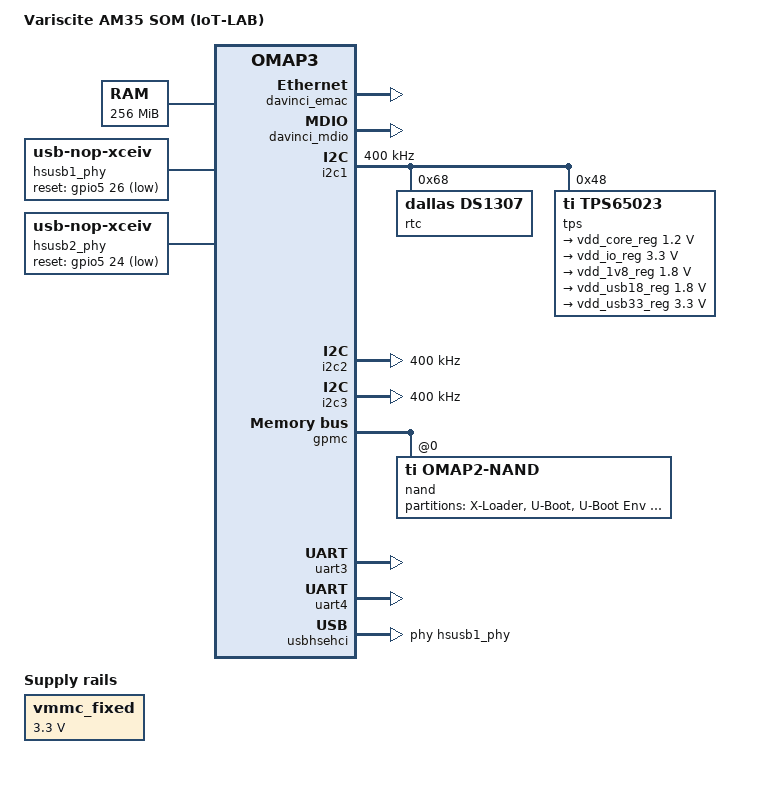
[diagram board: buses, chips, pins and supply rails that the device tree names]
// SPDX-License-Identifier: GPL-2.0-only
/*
 * Copyright (C) 2021 Gaëtan Harter <hartergaetan@gmail.com>
 *
 * Based on:
 *  -  am3517-evm.dts
 *  -  am3517-som.dtsi
 */
/dts-v1/;

#include "am3517.dtsi"
//#include "am3517-som.dtsi"
#include <dt-bindings/input/input.h>

/ {
	model = "Variscite AM35 SOM (IoT-LAB)";
	compatible = "var,am35", "ti,am3517", "ti,omap3";

#if 1
	chosen {
		stdout-path = &uart3;
	};
#endif

	memory@80000000 {
		device_type = "memory";
		reg = <0x80000000 0x10000000>; /* 256 MB */
	};

	cpu@0 {
		cpu0-supply = <&vdd_core_reg>;
	};

	vmmc_fixed: vmmc {
		compatible = "regulator-fixed";
		regulator-name = "vmmc_fixed";
		regulator-min-microvolt = <3300000>;
		regulator-max-microvolt = <3300000>;
	};

	/* HS USB Host PHY on PORT 1 */
	/* Adapted from 'omap3-beagle.dts'
	 *
	 * gpio_NUM = <&gpio(NUM / 32 +1) (NUM % 32) GPIO_ACTIVE_LOW>
	 */
	hsusb1_phy: hsusb1_phy {
		compatible = "usb-nop-xceiv";
		//pinctrl-names = "default";
		//pinctrl-0 = <&hsusb1_rst_pins>;
		reset-gpios = <&gpio5 26 GPIO_ACTIVE_LOW>;	/* gpio_154 */
		#phy-cells = <0>;
	};
	hsusb2_phy: hsusb2_phy {
		compatible = "usb-nop-xceiv";
		//pinctrl-names = "default";
		//pinctrl-0 = <&hsusb2_rst_pins>;
		reset-gpios = <&gpio5 24 GPIO_ACTIVE_LOW>;	/* gpio_152 */
		#phy-cells = <0>;
	};
};


/*
 * The current mapping match what was found in other boards and also u-boot.
 *
 * Double checked with the output of the following on an old kernel
 *
 *     grep '' /sys/kernel/debug/omap_mux/*
 *
 * I cannot get the same output for the moment on the device tree one
 *
 *
 *
 * Most of the values for usb where not needed in the current kernel it
 * seems they were just set by arch/arm/mach-omap2/usb-host.c
 *
 * Which is not used anymore later I think (not sure)
 */


&omap3_pmx_core {
	/* https://www.ti.com/lit/ug/sprugr0c/sprugr0c.pdf
	 * Table 6-5. Core and Wakeup Control Module Pad Configuration Registers(continued)
	 * Page 625
	 */
	pinctrl-names = "default";
	pinctrl-0 = <
			&hsusb1_rst_pins
			&hsusb2_rst_pins
			&hsusb2_pins
#if 0
			&mmc1_pins
#endif
	>;

	hsusb1_rst_pins: pinmux_hsusb1_rst_pins {
		pinctrl-single,pins = <
			OMAP3_CORE1_IOPAD(0x2188, PIN_OUTPUT | MUX_MODE4)	/* mcbsp4_clkx.gpio_154 */
		>;
	};
	hsusb2_rst_pins: pinmux_hsusb2_rst_pins {
		pinctrl-single,pins = <
			OMAP3_CORE1_IOPAD(0x2184, PIN_OUTPUT | MUX_MODE4)	/* mcbsp4_dx.gpio_152 */
		>;
	};

	hsusb2_pins: pinmux_hsusb2_pins {
		pinctrl-single,pins = <
			OMAP3_CORE1_IOPAD(0x21d4, PIN_INPUT_PULLDOWN | MUX_MODE3)	/* mcspi1_cs3.hsusb2_data2 */
			OMAP3_CORE1_IOPAD(0x21d6, PIN_INPUT_PULLDOWN | MUX_MODE3)	/* mcspi2_clk.hsusb2_data7 */
			OMAP3_CORE1_IOPAD(0x21d8, PIN_INPUT_PULLDOWN | MUX_MODE3)	/* mcspi2_simo.hsusb2_data4 */
			OMAP3_CORE1_IOPAD(0x21da, PIN_INPUT_PULLDOWN | MUX_MODE3)	/* mcspi2_somi.hsusb2_data5 */
			OMAP3_CORE1_IOPAD(0x21dc, PIN_INPUT_PULLDOWN | MUX_MODE3)	/* mcspi2_cs0.hsusb2_data6 */
			OMAP3_CORE1_IOPAD(0x21de, PIN_INPUT_PULLDOWN | MUX_MODE3)	/* mcspi2_cs1.hsusb2_data3 */
		>;
	};

#if 0
	mmc1_pins: pinmux_mmc1_pins {
		pinctrl-single,pins = <
			OMAP3_CORE1_IOPAD(0x2144, PIN_INPUT_PULLUP | MUX_MODE0)	/* sdmmc1_clk.sdmmc1_clk */
			OMAP3_CORE1_IOPAD(0x2146, PIN_INPUT_PULLUP | MUX_MODE0)	/* sdmmc1_cmd.sdmmc1_cmd */
			OMAP3_CORE1_IOPAD(0x2148, PIN_INPUT_PULLUP | MUX_MODE0)	/* sdmmc1_dat0.sdmmc1_dat0 */
			OMAP3_CORE1_IOPAD(0x214a, PIN_INPUT_PULLUP | MUX_MODE0)	/* sdmmc1_dat1.sdmmc1_dat1 */
			OMAP3_CORE1_IOPAD(0x214c, PIN_INPUT_PULLUP | MUX_MODE0)	/* sdmmc1_dat2.sdmmc1_dat2 */
			OMAP3_CORE1_IOPAD(0x214e, PIN_INPUT_PULLUP | MUX_MODE0)	/* sdmmc1_dat3.sdmmc1_dat3 */
			OMAP3_CORE1_IOPAD(0x2150, PIN_INPUT_PULLUP | MUX_MODE4) /* sdmmc1_dat4.gpio_126 */
			OMAP3_CORE1_IOPAD(0x2152, PIN_INPUT_PULLUP | MUX_MODE4) /* sdmmc1_dat5.gpio_127 */
		>;
	};
#endif
};

&omap3_pmx_core2 {
	pinctrl-names = "default";
	pinctrl-0 = <
			&hsusb1_pins
			&hsusb2_2_pins
	>;

	hsusb1_pins: pinmux_hsusb1_pins {
		pinctrl-single,pins = <
			OMAP3430_CORE2_IOPAD(0x25d8, PIN_OUTPUT | MUX_MODE3)	/* etk_clk.hsusb1_stp */
			OMAP3430_CORE2_IOPAD(0x25da, PIN_OUTPUT | MUX_MODE3)	/* etk_ctl.hsusb1_clk */
			OMAP3430_CORE2_IOPAD(0x25dc, PIN_INPUT_PULLDOWN | MUX_MODE3)	/* etk_d0.hsusb1_data0 */
			OMAP3430_CORE2_IOPAD(0x25de, PIN_INPUT_PULLDOWN | MUX_MODE3)	/* etk_d1.hsusb1_data1 */
			OMAP3430_CORE2_IOPAD(0x25e0, PIN_INPUT_PULLDOWN | MUX_MODE3)	/* etk_d2.hsusb1_data2 */
			OMAP3430_CORE2_IOPAD(0x25e2, PIN_INPUT_PULLDOWN | MUX_MODE3)	/* etk_d3.hsusb1_data7 */
			OMAP3430_CORE2_IOPAD(0x25e4, PIN_INPUT_PULLDOWN | MUX_MODE3)	/* etk_d4.hsusb1_data4 */
			OMAP3430_CORE2_IOPAD(0x25e6, PIN_INPUT_PULLDOWN | MUX_MODE3)	/* etk_d5.hsusb1_data5 */
			OMAP3430_CORE2_IOPAD(0x25e8, PIN_INPUT_PULLDOWN | MUX_MODE3)	/* etk_d6.hsusb1_data6 */
			OMAP3430_CORE2_IOPAD(0x25ea, PIN_INPUT_PULLDOWN | MUX_MODE3)	/* etk_d7.hsusb1_data3 */
			OMAP3430_CORE2_IOPAD(0x25ec, PIN_INPUT_PULLDOWN | MUX_MODE3)	/* etk_d8.hsusb1_dir */
			OMAP3430_CORE2_IOPAD(0x25ee, PIN_INPUT_PULLDOWN | MUX_MODE3)	/* etk_d9.hsusb1_nxt */
		>;
	};
#if 0
	hsusb1_pins: pinmux_hsusb1_pins {
		pinctrl-single,pins = <
			OMAP3430_CORE2_IOPAD(0x25d8, PIN_OUTPUT | MUX_MODE3)	/* etk_clk.hsusb1_stp */
			OMAP3430_CORE2_IOPAD(0x25da, PIN_OUTPUT | MUX_MODE3)	/* etk_ctl.hsusb1_clk */
			OMAP3430_CORE2_IOPAD(0x25dc, PIN_INPUT | MUX_MODE3)	/* etk_d0.hsusb1_data0 */
			OMAP3430_CORE2_IOPAD(0x25de, PIN_INPUT | MUX_MODE3)	/* etk_d1.hsusb1_data1 */
			OMAP3430_CORE2_IOPAD(0x25e0, PIN_INPUT | MUX_MODE3)	/* etk_d2.hsusb1_data2 */
			OMAP3430_CORE2_IOPAD(0x25e2, PIN_INPUT | MUX_MODE3)	/* etk_d3.hsusb1_data7 */
			OMAP3430_CORE2_IOPAD(0x25e4, PIN_INPUT | MUX_MODE3)	/* etk_d4.hsusb1_data4 */
			OMAP3430_CORE2_IOPAD(0x25e6, PIN_INPUT | MUX_MODE3)	/* etk_d5.hsusb1_data5 */
			OMAP3430_CORE2_IOPAD(0x25e8, PIN_INPUT | MUX_MODE3)	/* etk_d6.hsusb1_data6 */
			OMAP3430_CORE2_IOPAD(0x25ea, PIN_INPUT | MUX_MODE3)	/* etk_d7.hsusb1_data3 */
			OMAP3430_CORE2_IOPAD(0x25ec, PIN_INPUT | MUX_MODE3)	/* etk_d8.hsusb1_dir */
			OMAP3430_CORE2_IOPAD(0x25ee, PIN_INPUT | MUX_MODE3)	/* etk_d9.hsusb1_nxt */
		>;
	};
#endif

	hsusb2_2_pins: pinmux_hsusb2_2_pins {
		pinctrl-single,pins = <
			OMAP3430_CORE2_IOPAD(0x25f0, PIN_OUTPUT | MUX_MODE3)		/* etk_d10.hsusb2_clk */
			OMAP3430_CORE2_IOPAD(0x25f2, PIN_OUTPUT | MUX_MODE3)		/* etk_d11.hsusb2_stp */
			OMAP3430_CORE2_IOPAD(0x25f4, PIN_INPUT_PULLDOWN | MUX_MODE3)	/* etk_d12.hsusb2_dir */
			OMAP3430_CORE2_IOPAD(0x25f6, PIN_INPUT_PULLDOWN | MUX_MODE3)	/* etk_d13.hsusb2_nxt */
			OMAP3430_CORE2_IOPAD(0x25f8, PIN_INPUT_PULLDOWN | MUX_MODE3)	/* etk_d14.hsusb2_data0 */
			OMAP3430_CORE2_IOPAD(0x25fa, PIN_INPUT_PULLDOWN | MUX_MODE3)	/* etk_d15.hsusb2_data1 */
		>;
	};
};

&davinci_emac {
	status = "okay";
	local-mac-address = [ f8 dc 7a 01 99 69 ];
};

&davinci_mdio {
	status = "okay";
};

&i2c1 {
	clock-frequency = <400000>;
	rtc@68 {
		compatible = "dallas,ds1307";
		reg = <0x68>;
        status = "okay";
	};

	/* From am3517-som.dtsi */
	tps: tps65023@48 {
		compatible = "ti,tps65023";
		reg = <0x48>;

		regulators {
			vdd_core_reg: VDCDC1 {
				regulator-name = "vdd_core";
				regulator-always-on;
				regulator-min-microvolt = <1200000>;
				regulator-max-microvolt = <1200000>;
			};

			vdd_io_reg: VDCDC2 {
				regulator-name = "vdd_io";
				regulator-always-on;
				regulator-min-microvolt = <3300000>;
				regulator-max-microvolt = <3300000>;
			};

			vdd_1v8_reg: VDCDC3 {
				regulator-name = "vdd_1v8";
				regulator-always-on;
				regulator-min-microvolt = <1800000>;
				regulator-max-microvolt = <1800000>;
			};

			vdd_usb18_reg: LDO1 {
				regulator-name = "vdd_usb18";
				regulator-always-on;
				regulator-min-microvolt = <1800000>;
				regulator-max-microvolt = <1800000>;
			};

			vdd_usb33_reg: LDO2 {
				regulator-name = "vdd_usb33";
				regulator-always-on;
				regulator-min-microvolt = <3300000>;
				regulator-max-microvolt = <3300000>;
			};
		};
	};
};

&i2c2 {
	clock-frequency = <400000>;
};

&i2c3 {
	clock-frequency = <400000>;
};


&gpmc {
	/* Copied from am3517-som.dtsi in kernel 5.4
	 * Linux,mtd-name adapted from what original boot was saying
	 *
	 * Currently always read write…
	 * No idea how to change it.
	 * Could be just completely removed disabled in production
	 */
	ranges = <0 0 0x30000000 0x1000000>;	/* CS0: 16MB for NAND */

	nand: nand@0,0 {
		/*
		 * nand: device found, Manufacturer ID: 0x2c, Chip ID: 0xca
		 * nand: Micron MT29F2G16ABAEAWP
		 * nand: 256 MiB, SLC, erase size: 128 KiB, page size: 2048, OOB size: 64
		 * nand: using OMAP_ECC_BCH8_CODE_HW_DETECTION_SW
		 */
		compatible = "ti,omap2-nand";
		linux,mtd-name = "micron,mt29f2g16abaeawp";
		reg = <0 0 4>; /* CS0, offset 0, IO size 4 */
		nand-bus-width = <16>;
		ti,nand-ecc-opt = "bch8";
		gpmc,sync-clk-ps = <0>;
		gpmc,cs-on-ns = <0>;
		gpmc,cs-rd-off-ns = <44>;
		gpmc,cs-wr-off-ns = <44>;
		gpmc,adv-on-ns = <6>;
		gpmc,adv-rd-off-ns = <34>;
		gpmc,adv-wr-off-ns = <44>;
		gpmc,we-off-ns = <40>;
		gpmc,oe-off-ns = <54>;
		gpmc,access-ns = <64>;
		gpmc,rd-cycle-ns = <82>;
		gpmc,wr-cycle-ns = <82>;
		gpmc,wr-access-ns = <40>;
		gpmc,wr-data-mux-bus-ns = <0>;
		gpmc,device-width = <2>;
		#address-cells = <1>;
		#size-cells = <1>;

		status = "disabled";

		/*
		 * Creating 5 MTD partitions on "omap2-nand.0":
		 * 0x000000000000-0x000000080000 : "X-Loader"
		 * 0x000000080000-0x000000240000 : "U-Boot"
		 * 0x000000240000-0x000000280000 : "U-Boot Env"
		 * 0x000000280000-0x000000780000 : "Kernel"
		 * 0x000000780000-0x000010000000 : "File System"
		 */
		partition@0 {
			label = "X-Loader";
			reg = <0 0x80000>;
		};
		partition@0x80000 {
			label = "U-Boot";
			reg = <0x80000 0x1c0000>;
		};
		partition@0x1c0000 {
			label = "U-Boot Env";
			reg = <0x240000 0x40000>;
		};
		partition@0x280000 {
			label = "Kernel";
			reg = <0x280000 0x500000>;
		};
		partition@0x780000 {
			label = "Filesystem";
			reg = <0x780000 0xf880000>;
		};
	};
};

&nand {
	/* Not for use on open-a8 */
	status = "okay";
};

&uart3 {
	status = "okay";
};

&uart4 {
	status = "okay";
};


&usbhshost {
	port1-mode = "ehci-phy";
	port2-mode = "ehci-phy";
};
&usbhsehci {
	phys = <&hsusb1_phy &hsusb2_phy>;
};


#if 0
/* TODO change pin numbers here */
&mmc1 {
	status = "okay";
	pinctrl-names = "default";
	pinctrl-0 = <&mmc1_pins>;
	vmmc-supply = <&vmmc_fixed>;
	bus-width = <4>;
	wp-gpios = <&gpio4 30 GPIO_ACTIVE_HIGH>; /* gpio_126 */
	cd-gpios = <&gpio4 31 GPIO_ACTIVE_LOW>; /* gpio_127 */
};
#endif

&mmc2 {
	status = "disabled";
};

&mmc3 {
	status = "disabled";
};


&aes {
    status = "disabled";
};
&sham {
    status = "disabled";
};



&usb_otg_hs {
    status = "disabled";
};
